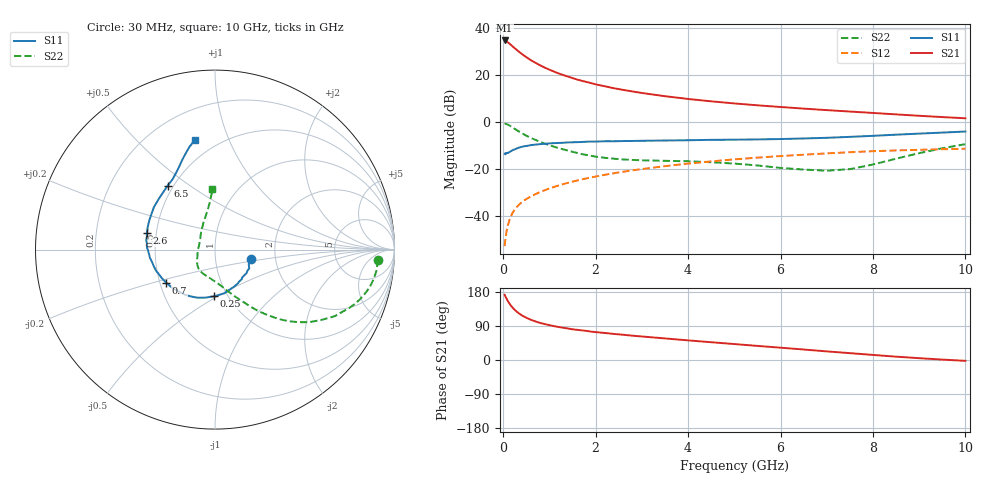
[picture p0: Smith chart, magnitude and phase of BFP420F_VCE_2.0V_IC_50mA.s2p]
! Infineon Technologies  Discrete & RF Semiconductors
! BFP420F
! VCE =  2.0 V,  IC =  50 mA
! Common Emitter S-Parameters:  Sep 2011
# GHz  S  MA  R  50
!  f  S11  S21  S12  S22
! GHz  MAG  ANG  MAG  ANG  MAG  ANG  MAG  ANG
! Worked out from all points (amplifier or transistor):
!   54 points, 30 MHz to 10 GHz, reference 50 ohm
!   highest |S21| = 34.5 dB at 30 MHz (marker M1)
!   |S21| within 3 dB of that: start of sweep to 231.1 MHz
!   unconditionally stable (mu >= 1): 1.186 GHz to end of sweep
!   at 120 MHz: K = 0.44, MSG = 38.1 dB, |S12| = -42.7 dB
!   at 1.3 GHz: K = 1.02, MAG = 22.2 dB, |S12| = -26.4 dB
!   at 10 GHz: K = 1.22, MAG = 3.6 dB, |S12| = -11.4 dB
!   S11 on the Smith chart (normalised r, x): 30 MHz: 1.50, -0.17; 250 MHz: 0.86, -0.48; 700 MHz: 0.54, -0.22; 2.6 GHz: 0.44, +0.10; 6.5 GHz: 0.47, +0.41; 10 GHz: 0.38, +0.76
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0.03  0.2103 -14.8  53.17 172.2  0.0023 93.4  0.9074 -3.6
0.05  0.2042 -23.1  51.99 166.9  0.0034 85.4  0.9073 -7.5
0.07  0.2154 -33.4  51.11 162.4  0.0046 82.8  0.8965 -11.2
0.1  0.2171 -45.7  48.83 155.6  0.0064 81.1  0.8717 -16.2
0.12  0.2233 -53.3  47.01 151.5  0.0073 81.2  0.8515 -19.2
0.15  0.2325 -63.1  44.23 146.2  0.0091 78.2  0.8184 -23.2
0.2  0.2491 -78.1  40.09 138.7  0.0116 75.4  0.7632 -29.1
0.25  0.2606 -91.4  36.23 132.2  0.0137 73.4  0.708 -33.7
0.35  0.2857 -110.3  30.15 122.2  0.0178 70.5  0.6149 -41.1
0.45  0.3023 -123.8  25.46 114.6  0.0213 69.0  0.5412 -46.3
0.6  0.3203 -138.5  20.24 106.1  0.0261 68.1  0.4538 -52.2
0.7  0.3283 -145.8  17.79 101.6  0.0293 67.9  0.4119 -55.3
0.9  0.3415 -156.4  14.07 94.8  0.0354 67.8  0.3446 -60.4
1.2  0.3561 -167.5  10.6 87.0  0.0446 67.5  0.2769 -67.9
1.7  0.3729 -179.4  7.412 78.2  0.0599 66.3  0.2069 -79.8
2.6  0.3908 166.5  4.743 66.6  0.0872 62.8  0.1587 -102.3
3.5  0.4012 155.5  3.493 56.9  0.1146 58.0  0.1487 -118.4
5.5  0.4231 137.0  2.239 37.2  0.1737 45.1  0.1186 -147.8
6.5  0.4432 126.5  1.906 27.7  0.2007 38.2  0.097 -175.0
7  0.4577 121.1  1.77 22.7  0.2136 34.7  0.0918 166.8
8.5  0.5334 109.9  1.437 8.8  0.2471 23.4  0.165 112.7
10  0.6223 100.3  1.188 -2.2  0.2688 14.0  0.3355 92.4
